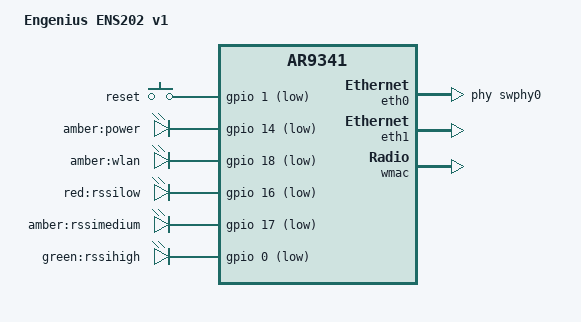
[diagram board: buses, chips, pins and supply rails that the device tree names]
// SPDX-License-Identifier: GPL-2.0-or-later OR MIT

#include "ar9341.dtsi"
#include "ar934x_senao_loader.dtsi"

#include <dt-bindings/gpio/gpio.h>
#include <dt-bindings/input/input.h>

/ {
	compatible = "engenius,ens202-v1", "qca,ar9341";
	model = "Engenius ENS202 v1";

	aliases {
		led-boot = &led_power;
		led-failsafe = &led_power;
		led-running = &led_power;
		led-upgrade = &led_power;
	};

	keys {
		compatible = "gpio-keys";

		reset {
			label = "reset";
			linux,code = <KEY_RESTART>;
			gpios = <&gpio 1 GPIO_ACTIVE_LOW>;
			debounce-interval = <60>;
		};
	};

	leds {
		compatible = "gpio-leds";

		led_power: power {
			label = "amber:power";
			gpios = <&gpio 14 GPIO_ACTIVE_LOW>;
			default-state = "on";
		};

		wlan {
			label = "amber:wlan";
			gpios = <&gpio 18 GPIO_ACTIVE_LOW>;
			linux,default-trigger = "phy0tpt";
		};

		rssilow {
			label = "red:rssilow";
			gpios = <&gpio 16 GPIO_ACTIVE_LOW>;
		};

		rssimedium {
			label = "amber:rssimedium";
			gpios = <&gpio 17 GPIO_ACTIVE_LOW>;
		};

		rssihigh {
			label = "green:rssihigh";
			gpios = <&gpio 0 GPIO_ACTIVE_LOW>;
		};
	};
};

&eth0 {
	status = "okay";

	phy-handle = <&swphy0>;

	nvmem-cells = <&macaddr_art_0>;
	nvmem-cell-names = "mac-address";
};

&eth1 {
	status = "okay";

	nvmem-cells = <&macaddr_art_0>;
	nvmem-cell-names = "mac-address";

	gmac-config {
		device = <&gmac>;
		switch-phy-swap = <1>;
	};
};

&wmac {
	status = "okay";

	nvmem-cells = <&calibration_art_1000>;
	nvmem-cell-names = "calibration";
};

&art {
	compatible = "nvmem-cells";
	#address-cells = <1>;
	#size-cells = <1>;

	macaddr_art_0: macaddr@0 {
		reg = <0x0 0x6>;
	};

	calibration_art_1000: calibration@1000 {
		reg = <0x1000 0x440>;
	};
};
